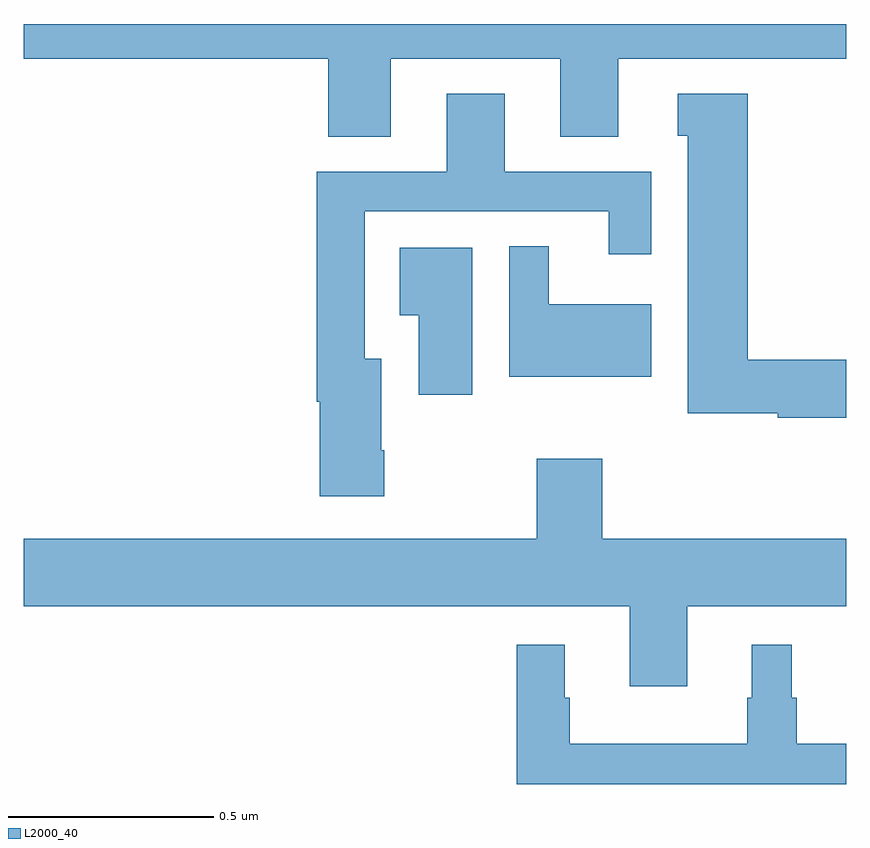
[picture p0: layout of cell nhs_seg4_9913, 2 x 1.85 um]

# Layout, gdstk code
import gdstk
lib = gdstk.Library(unit=1e-6, precision=1e-09)
def P(c, l, *ps):  # polygons
    for p in ps: c.add(gdstk.Polygon(p, *l))
L2000_40 = (2000, 40)

nhs_seg4_9913 = lib.new_cell('nhs_seg4_9913')
P(nhs_seg4_9913, L2000_40, [(233.893,800.816),(234.305,800.816),(234.305,800.626),(234.445,800.626),(234.445,800.816),(235,800.816),(235,800.9),(233,800.9),(233,800.816),(233.741,800.816),(233.741,800.626),(233.893,800.626)],
  [(235,800.084),(234.761,800.084),(234.761,800.731),(234.59,800.731),(234.59,800.628),(234.614,800.628),(234.614,799.954),(234.834,799.954),(234.834,799.942),(235,799.942)],
  [(233.877,799.864),(233.869,799.864),(233.869,800.086),(233.829,800.086),(233.829,800.445),(234.422,800.445),(234.422,800.34),(234.526,800.34),(234.526,800.541),(234.169,800.541),(234.169,800.731),(234.029,800.731),(234.029,800.541),(233.713,800.541),(233.713,799.982),(233.72,799.982),(233.72,799.752),(233.877,799.752)],
  [(234.526,800.218),(234.277,800.218),(234.277,800.36),(234.18,800.36),(234.18,800.042),(234.526,800.042)],
  [(234.091,800.356),(233.914,800.356),(233.914,800.192),(233.96,800.192),(233.96,799.998),(234.091,799.998)],
  [(234.613,799.484),(235,799.484),(235,799.648),(234.407,799.648),(234.407,799.843),(234.247,799.843),(234.247,799.648),(233,799.648),(233,799.484),(234.473,799.484),(234.473,799.29),(234.613,799.29)],
  [(235,799.15),(234.88,799.15),(234.88,799.262),(234.868,799.262),(234.868,799.39),(234.77,799.39),(234.77,799.262),(234.759,799.262),(234.759,799.15),(234.328,799.15),(234.328,799.262),(234.316,799.262),(234.316,799.39),(234.199,799.39),(234.199,799.052),(235,799.052)])

lib.write_gds('nhs_seg4_9913.gds')
